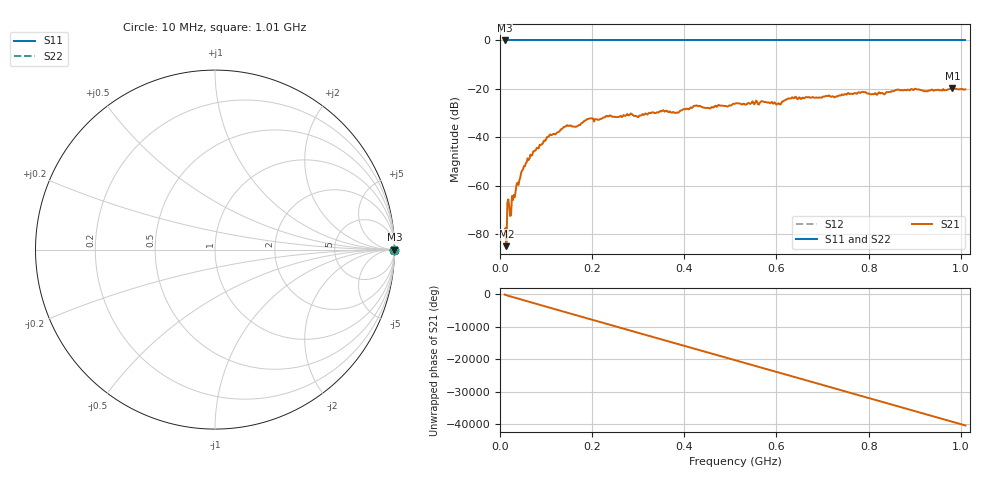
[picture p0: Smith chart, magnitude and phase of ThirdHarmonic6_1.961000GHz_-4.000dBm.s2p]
! 8/16/2025 11:35:56 PM
! C:\ANRITSUVNA\TEMP\TEMP.S2P
! CHANNEL.1
! TR.MEASUREMENT
! RAW.DATA
! RF.CORRECTION.OFF
! AVERAGING.OFF
! IF.BANDWIDTH: 5KHZ
! SWEEPTYPE:  FREQ.SWEEP(Linear)
! Reference Plane Port Info
! PORT:  PORT1  PORT2
! DISTANCE:  0  m  0  m
! TIME:  0  s  0  s
! PHASE.OFFSET:  0  deg.  0  deg.
! LOSS:  0  dB  0  dB
! REF.LOSS:  0  dB  0  dB
! REF.FREQ:  0  Hz  0  Hz
! Power Info
! POWER:  -20  dBm  -20  dBm
! EFF.POWER:  -20  dBm  -20  dBm
! SOURCE.ATTEN:  0  dB  0  dB
! TEST.ATTEN:  0  dB  0  dB
# GHZ S RI R 50.0
! FREQ.GHZ  S11RE  S11IM  S21RE  S21IM  S12RE  S12IM  S22RE  S22IM
!; PortSelection: Port_12
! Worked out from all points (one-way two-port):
!   501 points, 10 MHz to 1.01 GHz, reference 50 ohm
!   highest |S21| = -19.76 dB at 982 MHz (marker M1); lowest = -84.8 dB at 14 MHz (marker M2)
!   lowest |S11| = 0.0 dB at 10 MHz (marker M3)
!   |S11| at or under -10 dB: nowhere
!   |S22| runs from 0.0 to 0.0 dB; largest |S21 - S12| = 1.1
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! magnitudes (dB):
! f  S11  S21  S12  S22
! 10 MHz  0.0  -80.4  0.0  0.0
! 14 MHz  0.0  -84.8  0.0  0.0
! 20 MHz  0.0  -68.4  0.0  0.0
! 26 MHz  0.0  -64.1  0.0  0.0
! 30 MHz  0.0  -63.7  0.0  0.0
! 48 MHz  0.0  -53.6  0.0  0.0
! 70 MHz  0.0  -47.3  0.0  0.0
! 106 MHz  0.0  -39.6  0.0  0.0
! 142 MHz  0.0  -35.5  0.0  0.0
! 178 MHz  0.0  -34.0  0.0  0.0
! 194 MHz  0.0  -32.2  0.0  0.0
! 344 MHz  0.0  -29.7  0.0  0.0
! 384 MHz  0.0  -29.7  0.0  0.0
! 424 MHz  0.0  -27.0  0.0  0.0
! 454 MHz  0.0  -28.0  0.0  0.0
! 510 MHz  0.0  -26.1  0.0  0.0
! 604 MHz  0.0  -25.9  0.0  0.0
! 638 MHz  0.0  -23.9  0.0  0.0
! 678 MHz  0.0  -23.4  0.0  0.0
! 844 MHz  0.0  -21.2  0.0  0.0
! 982 MHz  0.0  -19.8  0.0  0.0
! 1.01 GHz  0.0  -20.2  0.0  0.0
